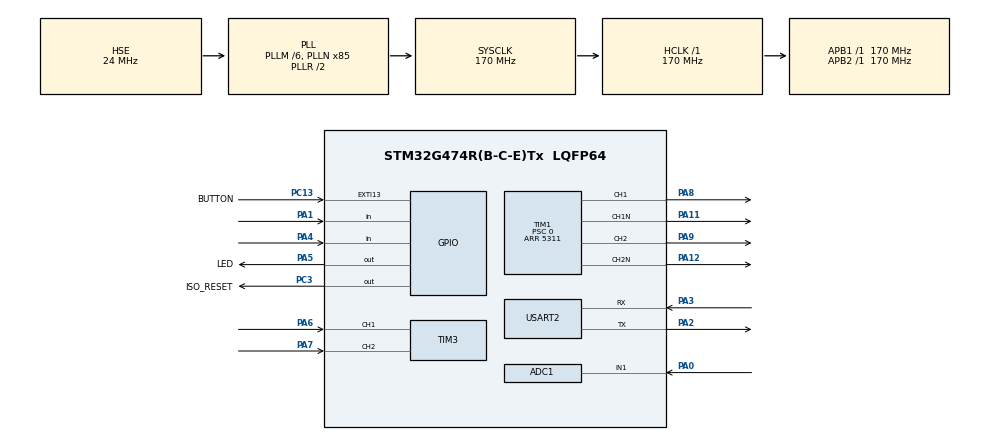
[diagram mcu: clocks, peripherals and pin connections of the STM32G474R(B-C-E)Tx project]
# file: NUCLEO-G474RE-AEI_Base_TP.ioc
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ADC1.Channel-0\#ChannelRegularConversion=ADC_CHANNEL_1
ADC1.ContinuousConvMode=ENABLE
ADC1.DMAContinuousRequests=ENABLE
ADC1.ExternalTrigConv=ADC_EXTERNALTRIG_T2_TRGO
ADC1.NbrOfConversionFlag=1
ADC1.OffsetNumber-0\#ChannelRegularConversion=ADC_OFFSET_NONE
ADC1.Rank-0\#ChannelRegularConversion=1
ADC1.SamplingTime-0\#ChannelRegularConversion=ADC_SAMPLETIME_2CYCLES_5
ADC1.master=1
Dma.ADC1.0.Direction=DMA_PERIPH_TO_MEMORY
Dma.ADC1.0.EventEnable=DISABLE
Dma.ADC1.0.Instance=DMA1_Channel1
Dma.ADC1.0.MemDataAlignment=DMA_MDATAALIGN_WORD
Dma.ADC1.0.MemInc=DMA_MINC_ENABLE
Dma.ADC1.0.Mode=DMA_CIRCULAR
Dma.ADC1.0.PeriphDataAlignment=DMA_PDATAALIGN_WORD
Dma.ADC1.0.PeriphInc=DMA_PINC_DISABLE
Dma.ADC1.0.Polarity=HAL_DMAMUX_REQ_GEN_RISING
Dma.ADC1.0.Priority=DMA_PRIORITY_LOW
Dma.ADC1.0.RequestNumber=1
Dma.ADC1.0.SignalID=NONE
Dma.ADC1.0.SyncEnable=DISABLE
Dma.ADC1.0.SyncPolarity=HAL_DMAMUX_SYNC_NO_EVENT
Dma.ADC1.0.SyncRequestNumber=1
Dma.ADC1.0.SyncSignalID=NONE
Dma.Request0=ADC1
Mcu.Family=STM32G4
Mcu.Name=STM32G474R(B-C-E)Tx
Mcu.Package=LQFP64
NVIC.DMA1_Channel1_IRQn=true\:0\:0\:false\:false\:true\:false\:true\:true
NVIC.EXTI15_10_IRQn=true\:0\:0\:false\:false\:true\:true\:true\:true
NVIC.PriorityGroup=NVIC_PRIORITYGROUP_4
NVIC.TIM5_IRQn=true\:0\:0\:false\:false\:true\:true\:true\:true
NVIC.TIM6_DAC_IRQn=true\:15\:0\:false\:false\:true\:false\:true\:true
NVIC.TimeBase=TIM6_DAC_IRQn
NVIC.TimeBaseIP=TIM6
NVIC.USART2_IRQn=true\:0\:0\:false\:false\:true\:true\:true\:true
PA0.Mode=IN1-Single-Ended
PA0.Signal=ADC1_IN1
PA1.Signal=GPIO_Input
PA11.Mode=PWM Generation1 CH1 CH1N
PA11.Signal=TIM1_CH1N
PA12.Mode=PWM Generation2 CH2 CH2N
PA12.Signal=TIM1_CH2N
PA13.GPIO_Label=T_SWDIO
PA13.Mode=Serial_Wire
PA13.Signal=SYS_JTMS-SWDIO
PA14.GPIO_Label=T_SWCLK
PA14.Mode=Serial_Wire
PA14.Signal=SYS_JTCK-SWCLK
PA2.Mode=Asynchronous
PA2.Signal=USART2_TX
PA3.Mode=Asynchronous
PA3.Signal=USART2_RX
PA4.Signal=GPIO_Input
PA5.GPIO_Label=LED
PA5.Signal=GPIO_Output
PA6.Signal=S_TIM3_CH1
PA7.Signal=S_TIM3_CH2
PA8.Signal=S_TIM1_CH1
PA9.Signal=S_TIM1_CH2
PC13.GPIO_Label=BUTTON
PC13.Signal=GPXTI13
PC14-OSC32_IN.Mode=LSE-External-Oscillator
PC14-OSC32_IN.Signal=RCC_OSC32_IN
PC15-OSC32_OUT.Mode=LSE-External-Oscillator
PC15-OSC32_OUT.Signal=RCC_OSC32_OUT
PC3.GPIO_Label=ISO_RESET
PC3.Signal=GPIO_Output
PF0-OSC_IN.Mode=HSE-External-Oscillator
PF0-OSC_IN.Signal=RCC_OSC_IN
PF1-OSC_OUT.Mode=HSE-External-Oscillator
PF1-OSC_OUT.Signal=RCC_OSC_OUT
ProjectManager.HeapSize=0x200
ProjectManager.StackSize=0x400
ProjectManager.TargetToolchain=STM32CubeIDE
RCC.ADC12Freq_Value=170000000
RCC.ADC345Freq_Value=170000000
RCC.AHBFreq_Value=170000000
RCC.APB1Freq_Value=170000000
RCC.APB1TimFreq_Value=170000000
RCC.APB2Freq_Value=170000000
RCC.APB2TimFreq_Value=170000000
RCC.CortexFreq_Value=170000000
RCC.EXTERNAL_CLOCK_VALUE=12288000
RCC.HCLKFreq_Value=170000000
RCC.HSE_VALUE=24000000
RCC.HSI48_VALUE=48000000
RCC.HSI_VALUE=16000000
RCC.PLLM=RCC_PLLM_DIV6
RCC.PLLN=85
RCC.PLLSourceVirtual=RCC_PLLSOURCE_HSE
RCC.RTCClockSelection=RCC_RTCCLKSOURCE_LSE
RCC.SYSCLKFreq_VALUE=170000000
RCC.SYSCLKSource=RCC_SYSCLKSOURCE_PLLCLK
RCC.USBFreq_Value=170000000
RCC.VCOOutputFreq_Value=340000000
SH.S_TIM1_CH1.0=TIM1_CH1,PWM Generation1 CH1 CH1N
SH.S_TIM1_CH2.0=TIM1_CH2,PWM Generation2 CH2 CH2N
SH.S_TIM3_CH1.0=TIM3_CH1,Encoder_Interface
SH.S_TIM3_CH2.0=TIM3_CH2,Encoder_Interface
TIM1.Channel-PWM\ Generation1\ CH1\ CH1N=TIM_CHANNEL_1
TIM1.Channel-PWM\ Generation2\ CH2\ CH2N=TIM_CHANNEL_2
TIM1.CounterMode=TIM_COUNTERMODE_CENTERALIGNED1
TIM1.DeadTime=205
TIM1.OCMode_PWM-PWM\ Generation1\ CH1\ CH1N=TIM_OCMODE_PWM1
TIM1.PeriodNoDither=5311
TIM1.Prescaler=0
TIM1.PulseNoDither_1=2655
TIM1.PulseNoDither_2=2655
TIM1.TIM_MasterOutputTrigger=TIM_TRGO_UPDATE
TIM1.TIM_MasterSlaveMode=TIM_MASTERSLAVEMODE_ENABLE
TIM2.PeriodNoDither=531
TIM2.TIM_MasterOutputTrigger=TIM_TRGO_UPDATE
TIM2.TIM_MasterSlaveMode=TIM_MASTERSLAVEMODE_ENABLE
TIM3.EncoderMode=TIM_ENCODERMODE_TI12
TIM5.PeriodNoDither=16999999
USART2.VirtualMode-Asynchronous=VM_ASYNC
VP_SYS_VS_DBSignals.Mode=DisableDeadBatterySignals
VP_SYS_VS_tim6.Mode=TIM6
VP_TIM1_VS_ClockSourceINT.Mode=Internal
VP_TIM2_VS_ClockSourceINT.Mode=Internal
VP_TIM5_VS_ClockSourceINT.Mode=Internal
board=NUCLEO-G474RE

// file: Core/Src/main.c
/* USER CODE BEGIN Header */
/**
 ******************************************************************************
 * @file           : main.c
 * @brief          : Main program body
 ******************************************************************************
 * @attention
 *
 * Copyright (c) 2022 STMicroelectronics.
 * All rights reserved.
 *
 * This software is licensed under terms that can be found in the LICENSE file
 * in the root directory of this software component.
 * If no LICENSE file comes with this software, it is provided AS-IS.
 *
 ******************************************************************************
 */
/* USER CODE END Header */
#include "main.h"
#include "adc.h"
#include "dma.h"
#include "tim.h"
#include "usart.h"
#include "gpio.h"

/* USER CODE BEGIN Includes */
#include <stdio.h>
#include <stdlib.h>
#include <string.h>
#include "shell.h"
#include "motor.h"

/* USER CODE END Includes */

/* USER CODE BEGIN PD */
#define ADC_BUF_SIZE 8
#define PERIODE_VITESSE 0.1
#define V_CONSIGNE 500
#define I_CONSIGNE 0
#define P 0.0002
#define I 3
#define Pv 0.0002
#define Iv 3
#define D 0
#define Te 0.00000625
/* USER CODE END PD */

/* USER CODE BEGIN PV */

extern uint8_t uartRxReceived;
extern uint8_t uartRxBuffer[UART_RX_BUFFER_SIZE];
extern uint8_t uartTxBuffer[UART_TX_BUFFER_SIZE];
uint8_t flag=0;
uint8_t flagADC=0;
uint32_t ADC_Buffer[20];
char chaine[30];
int vitesse=0;
int vitesse_buffer[2];
float erreur_vitesse[2]={0};
float alpha2_v[2]={0};
float alpha1_v=0;
float alpha_corrige_v[2]={0};
extern double courant_buffer[2];
float erreur[2]={0};

float alpha1=0;

float alpha2[2]={0};
float alpha_corrige[2]={0};
int32_t valeur_timer;
double Current_loop_buffer[3];
extern int sum;
extern double Imoyen;
extern double mesure_mean;
extern double mesure_voltage;
int flag_vitesse=0;
int flag_asserv=0;

int i=0;
int j=0;

/* USER CODE END PV */

void SystemClock_Config(void);

int main(void)
{

  /* MCU Configuration--------------------------------------------------------*/

  /* Reset of all peripherals, Initializes the Flash interface and the Systick. */
  HAL_Init();

  /* Configure the system clock */
  SystemClock_Config();

  /* Initialize all configured peripherals */
  MX_GPIO_Init();
  MX_DMA_Init();
  MX_TIM1_Init();
  MX_USART2_UART_Init();
  MX_ADC1_Init();
  MX_TIM2_Init();
  MX_TIM3_Init();
  MX_TIM5_Init();
  /* USER CODE BEGIN 2 */
	HAL_UART_Receive_IT(&huart2, uartRxBuffer, UART_RX_BUFFER_SIZE);
	HAL_Delay(1);
	shellInit();

	HAL_TIM_Base_Start(&htim2);

	if(HAL_OK!=HAL_ADCEx_Calibration_Start(&hadc1, ADC_SINGLE_ENDED))
	{
		Error_Handler();
	}
	if(HAL_OK!=HAL_ADC_Start_DMA(&hadc1, ADC_Buffer, 10)){
		Error_Handler();
	}

	TIM3->CNT=32000;
	HAL_TIM_Encoder_Start(&htim3,TIM_CHANNEL_ALL);
	HAL_TIM_Base_Start_IT(&htim5);
	HAL_TIM_PWM_Start(&htim1, TIM_CHANNEL_1);
	HAL_TIMEx_PWMN_Start(&htim1, TIM_CHANNEL_1);
	HAL_TIM_PWM_Start(&htim1, TIM_CHANNEL_2);
	HAL_TIMEx_PWMN_Start(&htim1, TIM_CHANNEL_2);

	erreur_vitesse[0]=erreur_vitesse[1];
	alpha2_v[0]=alpha2_v[1];
	alpha_corrige_v[0]=alpha_corrige_v[1];
	erreur_vitesse[1]=V_CONSIGNE-vitesse;
	alpha1_v=erreur_vitesse[1] *Pv;
	alpha2_v[1]=alpha2_v[0]+((Iv*Te)/2)*(erreur_vitesse[1]-erreur_vitesse[0]);
	alpha_corrige_v[1]=alpha_corrige_v[0]+alpha1_v+alpha2_v[1];

	/*if(HAL_OK!=HAL_TIM_Base_Start(&htim1)){
		Error_Handler();
	}*/
  /* USER CODE END 2 */

  /* Infinite loop */
  /* USER CODE BEGIN WHILE */
	while (1)
	{
		if (flag==1)
		{
			HAL_GPIO_WritePin(ISO_RESET_GPIO_Port, ISO_RESET_Pin,GPIO_PIN_SET);
			for(i=0;i<70;i++)
			{
			}
			HAL_GPIO_WritePin(ISO_RESET_GPIO_Port, ISO_RESET_Pin,GPIO_PIN_RESET);
			flag=0;
		}
		// SuperLoop inside the while(1), only flag changed from interrupt could launch functions
		if(uartRxReceived){
			if(shellGetChar()){
				shellExec();
				shellPrompt();
			}
			uartRxReceived = 0;
		}

		if (flag_asserv==1){
			if(flag_vitesse==1){
				erreur_vitesse[0]=erreur_vitesse[1];
				alpha2_v[0]=alpha2_v[1];
				alpha_corrige_v[0]=alpha_corrige_v[1];
				erreur_vitesse[1]=V_CONSIGNE-vitesse;
				alpha1_v=erreur_vitesse[1]*Pv;
				alpha2_v[1]=alpha2_v[0]+((Iv*Te)/2)*(erreur_vitesse[1]-erreur_vitesse[0]);
				if (alpha2_v[1]>7)
				{
					alpha2_v[1]=7;
				}
				else if(alpha2_v[1]<-7)
				{
					alpha2_v[1]=-7;
				}
				alpha_corrige_v[1]=alpha_corrige_v[0]+alpha1_v+alpha2_v[1];
				flag_vitesse=0;
			}

			if (flagADC==1){
				sum=0;
				for(j=0;j<20;j++)
				{
					sum=sum+ADC_Buffer[j];
				}
				mesure_mean=sum/10;
				j=0;
				courant_buffer[0]=courant_buffer[1];
				mesure_voltage=((double)mesure_mean*3.3)/4096.0;
				Imoyen=(mesure_voltage-2.5)*12;
				courant_buffer[1]=Imoyen;
				sum=0;
				erreur[0]=erreur[1];
				alpha2[0]=alpha2[1];
				//erreur[1]=I_CONSIGNE-courant_buffer[1];
				erreur[1]=alpha_corrige_v[1]-courant_buffer[1];
				alpha_corrige[0]=alpha_corrige[1];
				alpha1=erreur[1]*P;
				alpha2[1]=alpha2[0]+((I*Te)/2)*(erreur[1]-erreur[0]);
				alpha_corrige[1]=alpha_corrige[0]+alpha1+alpha2[1];
				if (alpha_corrige[1]>50)
				{
					alpha_corrige[1]=50;
				}
				else if(alpha_corrige[1]<-50)
				{
					alpha_corrige[1]=-50;
				}
				set_alpha((50+(int)alpha_corrige[1]));
				flagADC=0;
			}
		}

    /* USER CODE END WHILE */

	}
}

void SystemClock_Config(void)
{
  RCC_OscInitTypeDef RCC_OscInitStruct = {0};
  RCC_ClkInitTypeDef RCC_ClkInitStruct = {0};

  /** Configure the main internal regulator output voltage
  */
  HAL_PWREx_ControlVoltageScaling(PWR_REGULATOR_VOLTAGE_SCALE1_BOOST);

  /** Initializes the RCC Oscillators according to the specified parameters
  * in the RCC_OscInitTypeDef structure.
  */
  RCC_OscInitStruct.OscillatorType = RCC_OSCILLATORTYPE_HSE;
  RCC_OscInitStruct.HSEState = RCC_HSE_ON;
  RCC_OscInitStruct.PLL.PLLState = RCC_PLL_ON;
  RCC_OscInitStruct.PLL.PLLSource = RCC_PLLSOURCE_HSE;
  RCC_OscInitStruct.PLL.PLLM = RCC_PLLM_DIV6;
  RCC_OscInitStruct.PLL.PLLN = 85;
  RCC_OscInitStruct.PLL.PLLP = RCC_PLLP_DIV2;
  RCC_OscInitStruct.PLL.PLLQ = RCC_PLLQ_DIV2;
  RCC_OscInitStruct.PLL.PLLR = RCC_PLLR_DIV2;
  if (HAL_RCC_OscConfig(&RCC_OscInitStruct) != HAL_OK)
  {
    Error_Handler();
  }

  /** Initializes the CPU, AHB and APB buses clocks
  */
  RCC_ClkInitStruct.ClockType = RCC_CLOCKTYPE_HCLK|RCC_CLOCKTYPE_SYSCLK
                              |RCC_CLOCKTYPE_PCLK1|RCC_CLOCKTYPE_PCLK2;
  RCC_ClkInitStruct.SYSCLKSource = RCC_SYSCLKSOURCE_PLLCLK;
  RCC_ClkInitStruct.AHBCLKDivider = RCC_SYSCLK_DIV1;
  RCC_ClkInitStruct.APB1CLKDivider = RCC_HCLK_DIV1;
  RCC_ClkInitStruct.APB2CLKDivider = RCC_HCLK_DIV1;

  if (HAL_RCC_ClockConfig(&RCC_ClkInitStruct, FLASH_LATENCY_4) != HAL_OK)
  {
    Error_Handler();
  }
}

/* USER CODE BEGIN 4 */
void HAL_GPIO_EXTI_Callback(uint16_t GPIO_Pin)
{
	flag=1;
}

void HAL_ADC_ConvCpltCallback(ADC_HandleTypeDef *hadc)
{

	flagADC=1;
}
/* USER CODE END 4 */

void HAL_TIM_PeriodElapsedCallback(TIM_HandleTypeDef *htim)
{
  if (htim->Instance == TIM6) {
    HAL_IncTick();
  }
  /* USER CODE BEGIN Callback 1 */
  if(htim->Instance==TIM5){
	  valeur_timer=TIM3->CNT;
	  vitesse_buffer[0]=vitesse;
	  vitesse=((((valeur_timer-32000)*60)/4096)/PERIODE_VITESSE);
	  vitesse_buffer[1]=vitesse;
	  TIM3->CNT=32000;
	  flag_vitesse=1;

  }
  /* USER CODE END Callback 1 */
}

void Error_Handler(void)
{
	__disable_irq();
	while (1)
	{
	}
}
